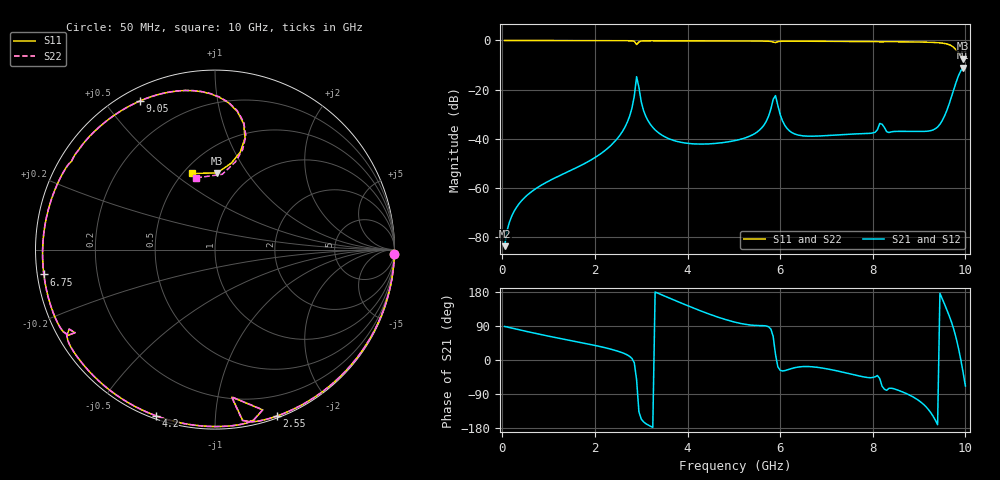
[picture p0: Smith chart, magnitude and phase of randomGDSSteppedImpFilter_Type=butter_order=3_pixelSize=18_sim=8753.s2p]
! freq	dB(S11)	phase(S11)	dB(S12)	phase(S12)
!  dB(S21)	phase(S21)	dB(S22)	phase(S22)
!S-par simulation data
#  GHz  S  DB  R 50
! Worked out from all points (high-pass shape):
!   200 points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, 50 MHz to 10 GHz, reference 50 ohm
!   highest |S21| = -11.08 dB at 9.95 GHz (marker M1); lowest = -83.5 dB at 50 MHz (marker M2)
!   |S21| within 3 dB of the highest: 9.857 GHz to end of sweep
!   lowest |S11| = -7.4 dB at 9.95 GHz (marker M3), VSWR 2.49, Z = 35.2 + j36.8 ohm
!   |S11| at or under -10 dB: nowhere
!   |S22| runs from -7.7 to 0.0 dB; largest |S21 - S12| = 0
!   S11 on the Smith chart (normalised r, x): 50 MHz: 0, -81; 2.55 GHz: 0.02, -1.44; 4.2 GHz: 0.01, -0.70; 6.75 GHz: 0.02, -0.07; 9.05 GHz: 0.05, +0.62; 10 GHz: 0.55, +0.58
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0.05  -0.00 -1.4  -83.53 88.6  -83.53 88.6  -0.00 -1.4
0.5  -0.02 -14.0  -63.47 76.0  -63.47 76.0  -0.02 -14.0
1.75  -0.06 -48.2  -50.24 44.8  -50.24 44.8  -0.06 -48.3
2.55  -0.09 -69.7  -38.20 21.0  -38.20 21.0  -0.09 -69.8
2.8  -0.16 -77.8  -27.47 4.0  -27.47 4.0  -0.17 -77.9
2.9  -1.65 -83.5  -14.70 -52.0  -14.70 -52.0  -1.67 -83.6
3.1  -0.14 -81.3  -30.87 -167.9  -30.87 -167.9  -0.14 -81.4
3.4  -0.12 -89.7  -37.86 174.2  -37.86 174.2  -0.12 -89.8
4.2  -0.15 -109.7  -42.05 133.6  -42.05 133.6  -0.15 -109.7
5.05  -0.20 -130.3  -40.54 99.1  -40.54 99.1  -0.20 -130.3
5.6  -0.25 -144.0  -35.52 90.7  -35.52 90.7  -0.25 -144.0
5.9  -0.85 -149.3  -22.39 14.3  -22.39 14.3  -0.86 -149.3
6.15  -0.29 -156.0  -35.75 -26.2  -35.75 -26.2  -0.29 -156.1
6.7  -0.32 -170.4  -38.87 -18.0  -38.87 -18.0  -0.32 -170.5
6.75  -0.32 -171.8  -38.85 -18.5  -38.85 -18.5  -0.32 -171.8
8.15  -0.55 148.3  -33.70 -48.8  -33.70 -48.8  -0.55 148.3
8.35  -0.52 142.2  -37.39 -74.5  -37.39 -74.5  -0.52 142.1
9.05  -0.65 116.7  -36.94 -112.2  -36.94 -112.2  -0.65 116.6
9.45  -0.97 97.9  -34.03 175.9  -34.03 175.9  -0.97 97.9
9.8  -3.82 74.9  -16.95 58.0  -16.95 58.0  -3.65 74.8
9.95  -7.39 88.5  -11.08 -32.2  -11.08 -32.2  -7.50 84.5
10  -7.07 106.8  -11.15 -68.5  -11.15 -68.5  -7.67 105.1
